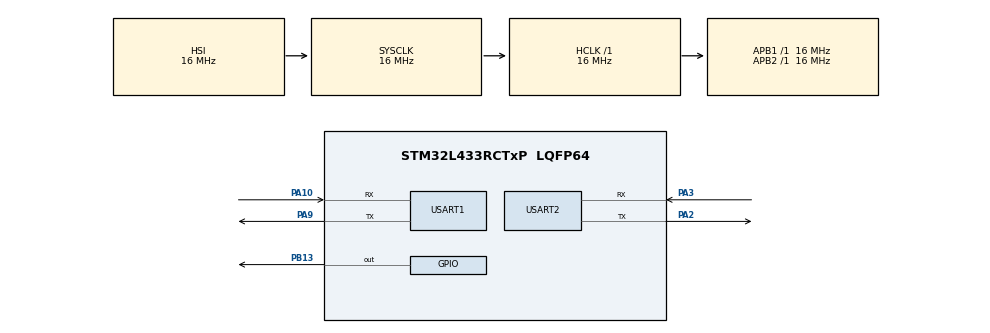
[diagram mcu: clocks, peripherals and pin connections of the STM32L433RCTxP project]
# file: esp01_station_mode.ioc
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Mcu.Family=STM32L4
Mcu.Name=STM32L433RCTxP
Mcu.Package=LQFP64
NVIC.PriorityGroup=NVIC_PRIORITYGROUP_4
NVIC.USART1_IRQn=true\:0\:0\:false\:false\:true\:true\:true\:true
PA10.Mode=Asynchronous
PA10.Signal=USART1_RX
PA2.Mode=Asynchronous
PA2.Signal=USART2_TX
PA3.Mode=Asynchronous
PA3.Signal=USART2_RX
PA9.Mode=Asynchronous
PA9.Signal=USART1_TX
PB13.Signal=GPIO_Output
ProjectManager.HeapSize=0x200
ProjectManager.StackSize=0x400
ProjectManager.TargetToolchain=STM32CubeIDE
RCC.AHBFreq_Value=16000000
RCC.APB1Freq_Value=16000000
RCC.APB1TimFreq_Value=16000000
RCC.APB2Freq_Value=16000000
RCC.APB2TimFreq_Value=16000000
RCC.CortexFreq_Value=16000000
RCC.HCLKFreq_Value=16000000
RCC.HSE_VALUE=8000000
RCC.HSI48_VALUE=48000000
RCC.HSI_VALUE=16000000
RCC.LSE_VALUE=32768
RCC.MSI_VALUE=4000000
RCC.SYSCLKFreq_VALUE=16000000
RCC.SYSCLKSource=RCC_SYSCLKSOURCE_HSI
RCC.VCOOutputFreq_Value=32000000
USART1.VirtualMode-Asynchronous=VM_ASYNC
USART2.VirtualMode-Asynchronous=VM_ASYNC
board=custom

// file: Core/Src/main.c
/* USER CODE BEGIN Header */
/**
  ******************************************************************************
  * @file           : main.c
  * @brief          : Main program body
  ******************************************************************************
  * @attention
  *
  * Copyright (c) 2025 STMicroelectronics.
  * All rights reserved.
  *
  * This software is licensed under terms that can be found in the LICENSE file
  * in the root directory of this software component.
  * If no LICENSE file comes with this software, it is provided AS-IS.
  *
  ******************************************************************************
  */
/* USER CODE END Header */
#include "main.h"

/* USER CODE BEGIN Includes */
#include <string.h>
/* USER CODE END Includes */

UART_HandleTypeDef huart1;
UART_HandleTypeDef huart2;

void SystemClock_Config(void);
static void MX_GPIO_Init(void);
static void MX_USART1_UART_Init(void);
static void MX_USART2_UART_Init(void);

/* USER CODE BEGIN 0 */
uint8_t En_index[] ="Entered Config\r\n";
uint8_t Ex_index[] ="Exited Config\r\n";
uint8_t Co_index[] ="Task Completed\r\n";
uint8_t re_index[20];
char tx_buffer[128];
uint8_t led_state = 0;
void esp01_send(char *cmd, uint32_t delay);
/* USER CODE END 0 */

int main(void)
{

  /* MCU Configuration--------------------------------------------------------*/

  /* Reset of all peripherals, Initializes the Flash interface and the Systick. */
  HAL_Init();

  /* Configure the system clock */
  SystemClock_Config();

  /* Initialize all configured peripherals */
  MX_GPIO_Init();
  MX_USART1_UART_Init();
  MX_USART2_UART_Init();
  /* USER CODE BEGIN 2 */
  HAL_UART_Transmit(&huart2, En_index, strlen(En_index), 50);// FOR DEBUGG
  esp01_send("AT\r\n", 1000); // DEVICE STATE CHECK AT ATTENTATION COMMANDS FIRMWARE
  esp01_send("AT+RST\r\n", 1000);
  esp01_send("AT+CWMODE=1\r\n", 1000);// MODE = STATION MODE ACCESS TO AP
  esp01_send("AT+CWJAP=\"Nord\",\"12345678\"\r\n", 5000);// WIFI PASSWORD
  HAL_UART_Transmit(&huart2, Ex_index, strlen(Ex_index), 50);//FOR DEBUG
  /* USER CODE END 2 */

  /* Infinite loop */
  /* USER CODE BEGIN WHILE */
  while (1)
  {
	    led_state = !led_state;// LED STATE
	    HAL_GPIO_WritePin(GPIOB, GPIO_PIN_13, led_state ? GPIO_PIN_RESET : GPIO_PIN_SET);// COMPARE IT

	    sprintf(tx_buffer, "AT+CIPSTART=\"TCP\",\"api.thingspeak.com\",80\r\n");//
	    esp01_send(tx_buffer, 2000);

	    sprintf(tx_buffer,"GET /update?api_key=KQ5DOATSE1U2AD3C&field1=%d\r\n\r\n",led_state);// GET REQUEST IN HTTP
	    char send_cmd[64];
	    sprintf(send_cmd, "AT+CIPSEND=%d\r\n", strlen(tx_buffer));
	    esp01_send(send_cmd, 1000);
	    esp01_send(tx_buffer, 2000);

	    HAL_Delay(2000); // wait before next update
	    HAL_UART_Transmit(&huart2, Co_index, strlen(Co_index), 50);// FOR DEBUG
    /* USER CODE END WHILE */

  }
}

void SystemClock_Config(void)
{
  RCC_OscInitTypeDef RCC_OscInitStruct = {0};
  RCC_ClkInitTypeDef RCC_ClkInitStruct = {0};

  /** Configure the main internal regulator output voltage
  */
  if (HAL_PWREx_ControlVoltageScaling(PWR_REGULATOR_VOLTAGE_SCALE1) != HAL_OK)
  {
    Error_Handler();
  }

  /** Initializes the RCC Oscillators according to the specified parameters
  * in the RCC_OscInitTypeDef structure.
  */
  RCC_OscInitStruct.OscillatorType = RCC_OSCILLATORTYPE_HSI;
  RCC_OscInitStruct.HSIState = RCC_HSI_ON;
  RCC_OscInitStruct.HSICalibrationValue = RCC_HSICALIBRATION_DEFAULT;
  RCC_OscInitStruct.PLL.PLLState = RCC_PLL_NONE;
  if (HAL_RCC_OscConfig(&RCC_OscInitStruct) != HAL_OK)
  {
    Error_Handler();
  }

  /** Initializes the CPU, AHB and APB buses clocks
  */
  RCC_ClkInitStruct.ClockType = RCC_CLOCKTYPE_HCLK|RCC_CLOCKTYPE_SYSCLK
                              |RCC_CLOCKTYPE_PCLK1|RCC_CLOCKTYPE_PCLK2;
  RCC_ClkInitStruct.SYSCLKSource = RCC_SYSCLKSOURCE_HSI;
  RCC_ClkInitStruct.AHBCLKDivider = RCC_SYSCLK_DIV1;
  RCC_ClkInitStruct.APB1CLKDivider = RCC_HCLK_DIV1;
  RCC_ClkInitStruct.APB2CLKDivider = RCC_HCLK_DIV1;

  if (HAL_RCC_ClockConfig(&RCC_ClkInitStruct, FLASH_LATENCY_0) != HAL_OK)
  {
    Error_Handler();
  }
}

static void MX_USART1_UART_Init(void)
{

  huart1.Instance = USART1;
  huart1.Init.BaudRate = 115200;
  huart1.Init.WordLength = UART_WORDLENGTH_8B;
  huart1.Init.StopBits = UART_STOPBITS_1;
  huart1.Init.Parity = UART_PARITY_NONE;
  huart1.Init.Mode = UART_MODE_TX_RX;
  huart1.Init.HwFlowCtl = UART_HWCONTROL_NONE;
  huart1.Init.OverSampling = UART_OVERSAMPLING_16;
  huart1.Init.OneBitSampling = UART_ONE_BIT_SAMPLE_DISABLE;
  huart1.AdvancedInit.AdvFeatureInit = UART_ADVFEATURE_NO_INIT;
  if (HAL_UART_Init(&huart1) != HAL_OK)
  {
    Error_Handler();
  }

}

static void MX_USART2_UART_Init(void)
{

  huart2.Instance = USART2;
  huart2.Init.BaudRate = 115200;
  huart2.Init.WordLength = UART_WORDLENGTH_8B;
  huart2.Init.StopBits = UART_STOPBITS_1;
  huart2.Init.Parity = UART_PARITY_NONE;
  huart2.Init.Mode = UART_MODE_TX_RX;
  huart2.Init.HwFlowCtl = UART_HWCONTROL_NONE;
  huart2.Init.OverSampling = UART_OVERSAMPLING_16;
  huart2.Init.OneBitSampling = UART_ONE_BIT_SAMPLE_DISABLE;
  huart2.AdvancedInit.AdvFeatureInit = UART_ADVFEATURE_NO_INIT;
  if (HAL_UART_Init(&huart2) != HAL_OK)
  {
    Error_Handler();
  }

}

static void MX_GPIO_Init(void)
{
  GPIO_InitTypeDef GPIO_InitStruct = {0};

  /* GPIO Ports Clock Enable */
  __HAL_RCC_GPIOA_CLK_ENABLE();
  __HAL_RCC_GPIOB_CLK_ENABLE();

  /*Configure GPIO pin Output Level */
  HAL_GPIO_WritePin(GPIOB, GPIO_PIN_13, GPIO_PIN_RESET);

  /*Configure GPIO pin : PB13 */
  GPIO_InitStruct.Pin = GPIO_PIN_13;
  GPIO_InitStruct.Mode = GPIO_MODE_OUTPUT_PP;
  GPIO_InitStruct.Pull = GPIO_NOPULL;
  GPIO_InitStruct.Speed = GPIO_SPEED_FREQ_LOW;
  HAL_GPIO_Init(GPIOB, &GPIO_InitStruct);

}

/* USER CODE BEGIN 4 */
void esp01_send(char *cmd, uint32_t delay)
{
  HAL_UART_Transmit(&huart1, (uint8_t*)cmd, strlen(cmd), 1000);
  HAL_Delay(delay);
}
/* USER CODE END 4 */

void Error_Handler(void)
{
  __disable_irq();
  while (1)
  {
  }
}
